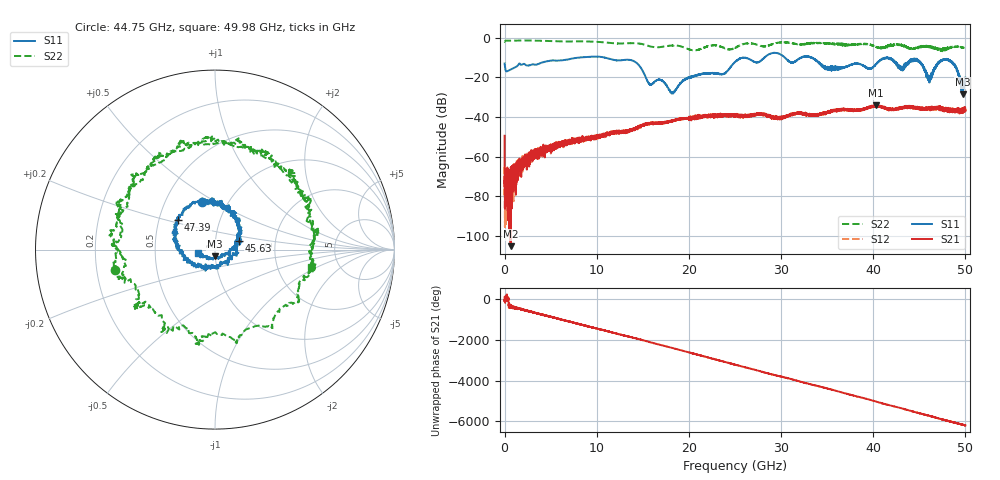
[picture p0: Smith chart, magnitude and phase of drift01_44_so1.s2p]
!Created with skrf (http://scikit-rf.org).
# Hz S RI R 50.0
!freq ReS11 ImS11 ReS21 ImS21 ReS12 ImS12 ReS22 ImS22
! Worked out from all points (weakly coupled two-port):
!   10001 points, 300 kHz to 50 GHz, reference 50 ohm
!   highest |S21| = -34.04 dB at 40.3 GHz (marker M1); lowest = -105.2 dB at 645.3 MHz (marker M2)
!   lowest |S11| = -28.5 dB at 49.71 GHz (marker M3), VSWR 1.08, Z = 49.8 - j3.76 ohm
!   |S11| at or under -10 dB: 10.89 GHz to 25.83 GHz (14.94 GHz wide, 81.4 % of centre); 33.36 GHz to 41.55 GHz (8.196 GHz wide, 21.9 % of centre); 41.59 GHz to end of sweep (the widest 3 of 15)
!   |S22| runs from -6.8 to -1.4 dB; largest |S21 - S12| = 0.0036
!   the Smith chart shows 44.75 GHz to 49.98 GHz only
!   S11 on the Smith chart (normalised r, x): 44.75 GHz: 0.75, +0.44; 45.63 GHz: 1.30, +0.13; 47.39 GHz: 0.63, +0.22; 49.98 GHz: 0.83, -0.04
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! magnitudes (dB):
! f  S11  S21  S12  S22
! 300 kHz  -13.0  -49.5  -65.1  -2.1
! 255.3 MHz  -16.9  -70.8  -70.0  -1.4
! 645.3 MHz  -16.0  -105.2  -72.9  -1.5
! 3.19 GHz  -13.5  -57.9  -57.9  -1.5
! 8.335 GHz  -9.9  -51.6  -51.2  -1.8
! 13.79 GHz  -11.4  -46.6  -46.1  -2.7
! 15.73 GHz  -23.4  -43.3  -43.1  -4.3
! 16.67 GHz  -21.2  -43.3  -43.0  -4.8
! 18.24 GHz  -27.5  -42.3  -41.6  -4.0
! 25 GHz  -12.2  -39.2  -39.3  -5.1
! 33.34 GHz  -10.1  -39.3  -39.0  -2.7
! 35.1 GHz  -15.6  -37.4  -37.9  -2.8
! 40.3 GHz  -13.4  -34.0  -34.4  -4.7
! 41.67 GHz  -10.4  -35.7  -36.1  -4.4
! 44.75 GHz  -11.1  -35.5  -35.2  -4.9
! 45.63 GHz  -16.9  -35.7  -35.6  -4.4
! 46.14 GHz  -20.9  -35.4  -35.9  -4.6
! 47.39 GHz  -11.6  -35.7  -35.9  -5.7
! 48.7 GHz  -13.0  -36.0  -36.3  -4.6
! 49.71 GHz  -28.5  -37.1  -36.8  -5.0
! 49.98 GHz  -20.5  -36.9  -36.5  -5.3
! 50 GHz  -20.9  -36.8  -36.5  -5.4
